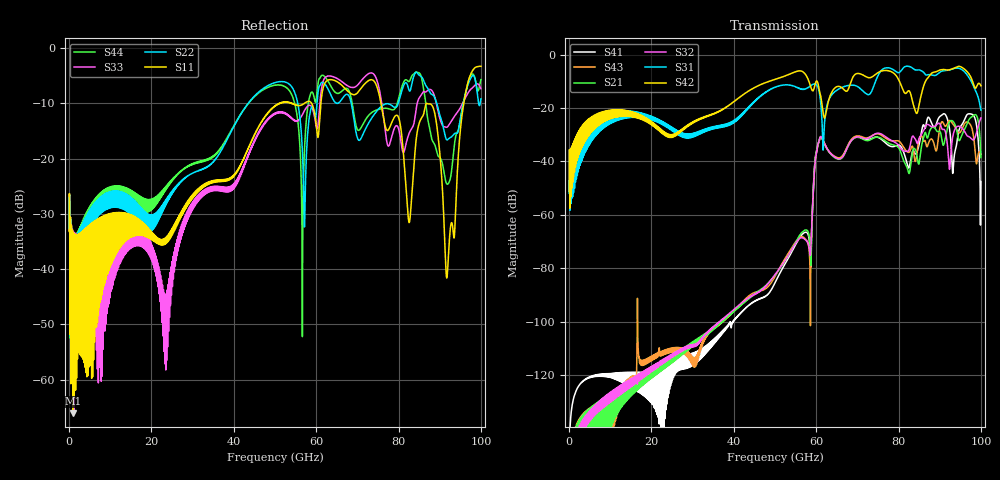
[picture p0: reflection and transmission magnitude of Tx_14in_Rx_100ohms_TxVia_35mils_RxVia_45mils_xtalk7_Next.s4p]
! Info: Touchstone file created by Circ.  Input file=Tx_14in_Rx_100ohms_TxVia_35mils_RxVia_45mils.circ
# Hz S RI R 50
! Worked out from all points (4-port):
!   10000 points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, 10 MHz to 100 GHz, reference 50 ohm
!   strongest paths, dB at 10 MHz, 25.01 GHz, 50.01 GHz, 75.01 GHz, 100 GHz:
!     S42: -51.3, -30.9, -9.3, -6.7, -11.6
!     S31: -51.9, -28.5, -12.2, -7.9, -20.7
!     S32: -180.1, -113.2, -82.4, -29.4, -23.7
!     S21: -175.6, -113.3, -82.6, -30.9, -38.5
!     S43: -175.2, -110.8, -83.1, -29.7, -37.3
!     S41: -162.2, -114.1, -85.4, -31.0, -47.6
!   lowest |S11| = -66.1 dB at 900 MHz (marker M1), VSWR 1.00, Z = 50 - j0.0487 ohm
!   |S11| at or under -10 dB: start of sweep to 51.05 GHz; 54.14 GHz to 57.17 GHz (3.026 GHz wide, 5.44 % of centre); 75.73 GHz to 95.85 GHz (20.12 GHz wide, 23.5 % of centre) (the widest 3 of 6)
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1e7  0.0202 0.00859  1.21e-09 1.13e-09  0.000504 0.00248  5.37e-09 5.58e-09
     1.21e-09 1.13e-09  0.0216 0.00817  6.45e-10 7.55e-10  0.000991 0.00252
     0.000504 0.00248  6.45e-10 7.55e-10  0.021 0.00817  1.27e-09 1.18e-09
     5.37e-09 5.58e-09  0.000991 0.00252  1.27e-09 1.18e-09  0.0214 0.00821
9e8  0.000103 -0.000487  -2.18e-08 6.35e-08  0.000615 0.00926  -1.3e-07 2.9e-07
     -2.18e-08 6.35e-08  0.002 0.000337  2.89e-09 4.46e-08  0.00155 0.00977
     0.000615 0.00926  2.89e-09 4.46e-08  -6.46e-05 -0.000631  -2.45e-08 6.45e-08
     -1.3e-07 2.9e-07  0.00155 0.00977  -2.45e-08 6.45e-08  0.00219 0.000871
5.159e10  0.1378 0.2904  -6.43e-06 -0.000109  0.2173 0.1546  -2.78e-06 -9.18e-05
          -6.43e-06 -0.000109  0.4826 0.1189  -2.54e-05 -0.000109  0.3222 -0.1972
          0.2173 0.1546  -2.54e-05 -0.000109  0.1231 0.2339  -3.17e-05 -0.000112
          -2.78e-06 -9.18e-05  0.3222 -0.1972  -3.17e-05 -0.000112  0.4506 0.0955
6.352e10  0.4848 -0.1815  -0.0117 -0.00715  -0.00533 -0.1653  -0.0119 -0.00727
          -0.0117 -0.00715  0.0752 -0.3725  -0.0125 -0.00653  -0.0894 0.1554
          -0.00533 -0.1653  -0.0125 -0.00653  0.5352 -0.1554  -0.0126 -0.00659
          -0.0119 -0.00727  -0.0894 0.1554  -0.0126 -0.00659  0.0997 -0.4452
8.813e10  -0.2514 0.1679  0.0242 -0.0361  0.1339 0.3924  -0.0225 -0.0446
          0.0242 -0.0361  -0.2144 0.313  0.0107 -0.0433  0.0653 0.4483
          0.1339 0.3924  0.0107 -0.0433  -0.2612 0.3174  0.00867 -0.0244
          -0.0225 -0.0446  0.0653 0.4483  0.00867 -0.0244  -0.081 0.1241
9.178e10  0.00604 -0.00595  -0.0356 -0.0178  0.4133 -0.2948  0.0385 0.0526
          -0.0356 -0.0178  0.1441 0.0314  0.00387 0.0232  0.4051 -0.3171
          0.4133 -0.2948  0.00387 0.0232  0.1888 -0.0381  -0.05 -0.00226
          0.0385 0.0526  0.4051 -0.3171  -0.05 -0.00226  0.058 0.00879
1e11  -0.5731 0.371  -0.0117 0.00141  0.0627 0.067  -0.00276 -0.00315
      -0.0117 0.00141  -0.3443 0.0315  0.0223 0.0611  0.0185 0.261
      0.0627 0.067  0.0223 0.0611  -0.3069 0.2989  -0.00865 -0.0105
      -0.00276 -0.00315  0.0185 0.261  -0.00865 -0.0105  -0.5122 0.0748
